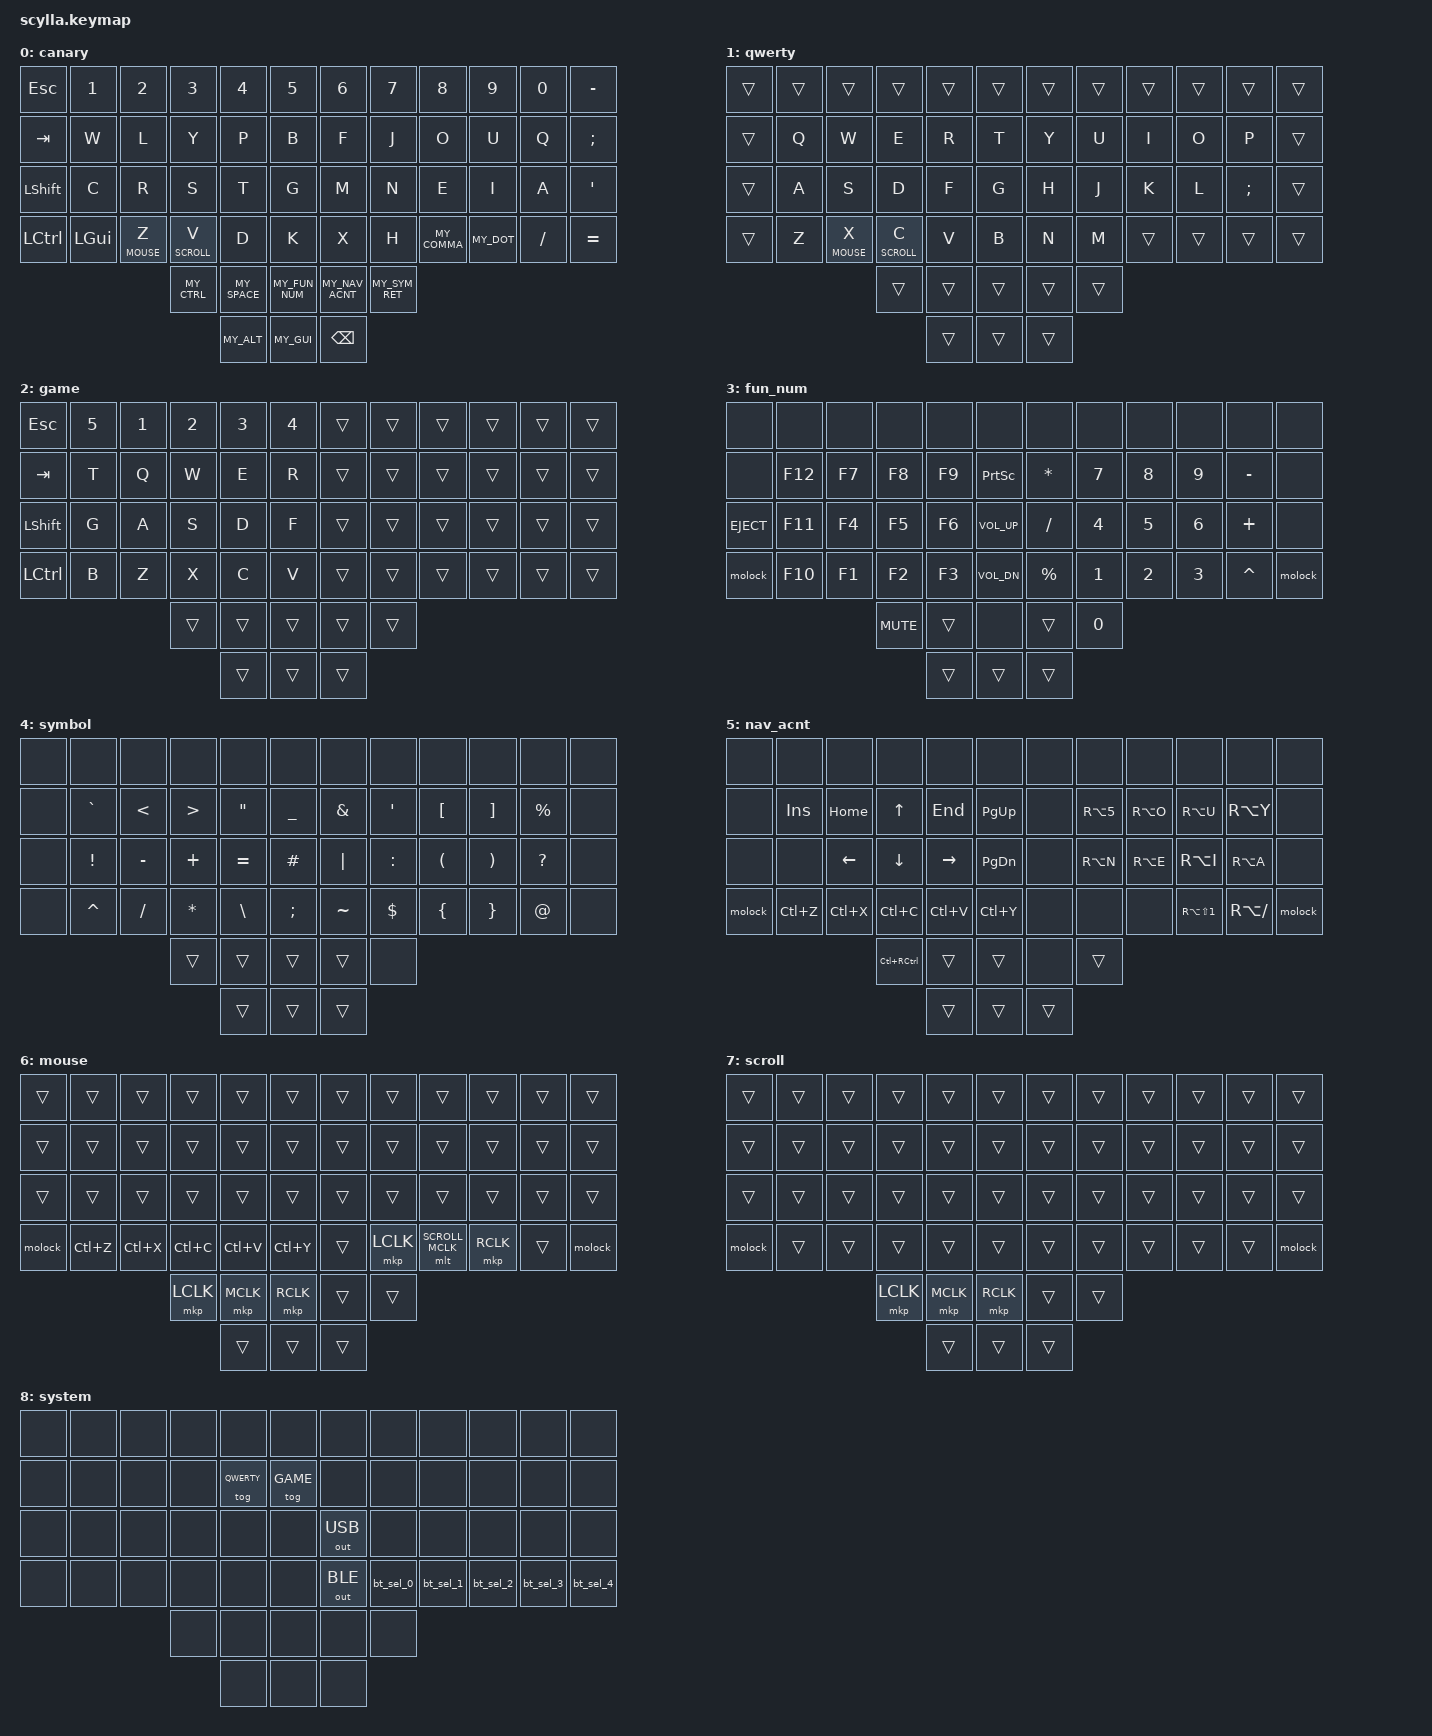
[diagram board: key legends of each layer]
#include <behaviors.dtsi>
#include <dt-bindings/zmk/keys.h>
#include <dt-bindings/zmk/bt.h>
#include <dt-bindings/zmk/mouse.h>
#include <dt-bindings/zmk/outputs.h>
#include "layers.h"
#include "keypos.h"
#include "helper.h"

// misc aliases
#define MY_FUN_NUM    mo_sk FUN_NUM LSHFT
#define MY_NAV_ACNT   mo_sl NAV_ACNT NAV_ACNT
#define MY_SYM_RET    lt_hp SYMBOL RET
#define MY_COMMA      lt SCROLL COMMA
#define MY_DOT        lt MOUSE DOT
#define MY_SPACE      trm LGUI SPACE
#define MY_CTRL       kp_sk LCTRL LCTRL
#define MY_ALT        kp_sk LALT LALT
#define MY_GUI        kp_sk LGUI LGUI

&sk {
    quick-release;
};

ZMK_BEHAVIOR(mo_sk, hold_tap,
    flavor = "hold-preferred";
    tapping-term-ms = <200>;
    bindings = <&mo>, <&sk>;
)
ZMK_BEHAVIOR(kp_sk, hold_tap,
    flavor = "hold-preferred";
    tapping-term-ms = <200>;
    bindings = <&kp>, <&sk>;
)
ZMK_BEHAVIOR(mo_sl, hold_tap,
    flavor = "hold-preferred";
    tapping-term-ms = <200>;
    bindings = <&mo>, <&sl>;
)
ZMK_BEHAVIOR(lt_hp, hold_tap,
    flavor = "hold-preferred";
    tapping-term-ms = <200>;
    bindings = <&mo>, <&kp>;
)
ZMK_BEHAVIOR(mlt, hold_tap,
    flavor = "tap-preferred";
    tapping-term-ms = <200>;
    bindings = <&mo>, <&mkp>;
)
ZMK_BEHAVIOR(trm, hold_tap,
    flavor = "balanced";
    tapping-term-ms = <280>;
    quick-tap-ms = <150>;
    require-prior-idle-ms = <150>;
    bindings = <&kp>, <&kp>;
)

ZMK_COMBO(combo_bspc,     &kp BSPC,          RH0 RU0, ALL,  75)
ZMK_COMBO(combo_capsword, &caps_word,        LF2 RF2, 0 1,  75)
ZMK_COMBO(combo_caps,     &kp CAPSLOCK,      LB5 RB5, 0 1,  75)
ZMK_COMBO(combo_bootload, &bootloader,       RF2 RT2, 0 1, 150, 150)
ZMK_COMBO(combo_reset,    &sys_reset,        RF3 RT3, 0 1, 150, 150)
ZMK_COMBO(combo_mb1,      &mkp MB1,          RF1 RF2, 0 1, 150, 150)
ZMK_COMBO(combo_mb2,      &mkp MB2,          RF2 RF3, 0 1, 150, 150)
ZMK_COMBO(combo_mb3,      &mkp MB3,      RF1 RF2 RF3, 0 1, 150, 150)

ZMK_SHIFT_MACRO(bt_sel_0, &bt BT_SEL 0, &bt BT_SEL 0 &bt BT_CLR)
ZMK_SHIFT_MACRO(bt_sel_1, &bt BT_SEL 1, &bt BT_SEL 1 &bt BT_CLR)
ZMK_SHIFT_MACRO(bt_sel_2, &bt BT_SEL 2, &bt BT_SEL 2 &bt BT_CLR)
ZMK_SHIFT_MACRO(bt_sel_3, &bt BT_SEL 3, &bt BT_SEL 3 &bt BT_CLR)
ZMK_SHIFT_MACRO(bt_sel_4, &bt BT_SEL 4, &bt BT_SEL 4 &bt BT_CLR)

/* Keymap */

ZMK_CONDITIONAL_LAYERS(tri_layers_1, FUN_NUM NAV_ACNT, SYSTEM)

ZMK_LAYER(canary,
// ╭───────────────────────────────────────────────────────────────────────────────╮ ╭───────────────────────────────────────────────────────────────────────────────╮
          &kp ESC       &kp N1       &kp N2       &kp N3       &kp N4       &kp N5           &kp N6       &kp N7       &kp N8       &kp N9       &kp N0    &kp MINUS
// ├───────────────────────────────────────────────────────────────────────────────┤ ├───────────────────────────────────────────────────────────────────────────────┤
          &kp TAB        &kp W        &kp L        &kp Y        &kp P        &kp B            &kp F        &kp J        &kp O        &kp U        &kp Q     &kp SEMI
// ├───────────────────────────────────────────────────────────────────────────────┤ ├───────────────────────────────────────────────────────────────────────────────┤
        &kp LSHFT        &kp C        &kp R        &kp S        &kp T        &kp G            &kp M        &kp N        &kp E        &kp I        &kp A     &kp APOS
// ├───────────────────────────────────────────────────────────────────────────────┤ ├───────────────────────────────────────────────────────────────────────────────┤
        &kp LCTRL     &kp LGUI  &lt MOUSE Z &lt SCROLL V        &kp D        &kp K            &kp X        &kp H    &MY_COMMA      &MY_DOT     &kp FSLH    &kp EQUAL
// ╰───────────────────────────────────────────────────────────────────────────────┤ ├───────────────────────────────────────────────────────────────────────────────╯
                                                &MY_CTRL    &MY_SPACE  &MY_FUN_NUM     &MY_NAV_ACNT  &MY_SYM_RET
                                                              &MY_ALT      &MY_GUI         &kp BSPC
//                                        ╰────────────────────────────────────────╯ ╰───────────────────────────╯
)

ZMK_LAYER(qwerty,
// ╭───────────────────────────────────────────────────────────────────────────────╮ ╭───────────────────────────────────────────────────────────────────────────────╮
           &trans       &trans       &trans       &trans       &trans       &trans           &trans       &trans       &trans       &trans       &trans       &trans
// ├───────────────────────────────────────────────────────────────────────────────┤ ├───────────────────────────────────────────────────────────────────────────────┤
           &trans        &kp Q        &kp W        &kp E        &kp R        &kp T            &kp Y        &kp U        &kp I        &kp O        &kp P       &trans
// ├───────────────────────────────────────────────────────────────────────────────┤ ├───────────────────────────────────────────────────────────────────────────────┤
           &trans        &kp A        &kp S        &kp D        &kp F        &kp G            &kp H        &kp J        &kp K        &kp L     &kp SEMI       &trans
// ├───────────────────────────────────────────────────────────────────────────────┤ ├───────────────────────────────────────────────────────────────────────────────┤
           &trans        &kp Z  &lt MOUSE X &lt SCROLL C        &kp V        &kp B            &kp N        &kp M       &trans       &trans       &trans       &trans
// ╰───────────────────────────────────────────────────────────────────────────────┤ ├───────────────────────────────────────────────────────────────────────────────╯
                                                  &trans       &trans       &trans           &trans       &trans
                                                               &trans       &trans           &trans
//                                        ╰────────────────────────────────────────╯ ╰───────────────────────────╯
)

ZMK_LAYER(game,
// ╭───────────────────────────────────────────────────────────────────────────────╮ ╭───────────────────────────────────────────────────────────────────────────────╮
          &kp ESC       &kp N5       &kp N1       &kp N2       &kp N3       &kp N4           &trans       &trans       &trans       &trans       &trans       &trans
// ├───────────────────────────────────────────────────────────────────────────────┤ ├───────────────────────────────────────────────────────────────────────────────┤
          &kp TAB        &kp T        &kp Q        &kp W        &kp E        &kp R           &trans       &trans       &trans       &trans       &trans       &trans
// ├───────────────────────────────────────────────────────────────────────────────┤ ├───────────────────────────────────────────────────────────────────────────────┤
        &kp LSHFT        &kp G        &kp A        &kp S        &kp D        &kp F           &trans       &trans       &trans       &trans       &trans       &trans
// ├───────────────────────────────────────────────────────────────────────────────┤ ├───────────────────────────────────────────────────────────────────────────────┤
        &kp LCTRL        &kp B        &kp Z        &kp X        &kp C        &kp V           &trans       &trans       &trans       &trans       &trans       &trans
// ╰───────────────────────────────────────────────────────────────────────────────┤ ├───────────────────────────────────────────────────────────────────────────────╯
                                                  &trans       &trans       &trans           &trans       &trans
                                                               &trans       &trans           &trans
//                                        ╰────────────────────────────────────────╯ ╰───────────────────────────╯
)

ZMK_LAYER(fun_num,
// ╭───────────────────────────────────────────────────────────────────────────────╮ ╭───────────────────────────────────────────────────────────────────────────────╮
            &none        &none        &none        &none        &none        &none            &none        &none        &none        &none        &none        &none
// ├───────────────────────────────────────────────────────────────────────────────┤ ├───────────────────────────────────────────────────────────────────────────────┤
            &none      &kp F12       &kp F7       &kp F8       &kp F9    &kp PSCRN        &kp ASTRK       &kp N7       &kp N8       &kp N9    &kp MINUS        &none
// ├───────────────────────────────────────────────────────────────────────────────┤ ├───────────────────────────────────────────────────────────────────────────────┤
      &kp C_EJECT      &kp F11       &kp F4       &kp F5       &kp F6 &kp C_VOL_UP         &kp FSLH       &kp N4       &kp N5       &kp N6     &kp PLUS        &none
// ├───────────────────────────────────────────────────────────────────────────────┤ ├───────────────────────────────────────────────────────────────────────────────┤
          &molock      &kp F10       &kp F1       &kp F2       &kp F3 &kp C_VOL_DN        &kp PRCNT       &kp N1       &kp N2       &kp N3    &kp CARET      &molock
// ╰───────────────────────────────────────────────────────────────────────────────┤ ├───────────────────────────────────────────────────────────────────────────────╯
                                              &kp C_MUTE       &trans        &none           &trans       &kp N0
                                                               &trans       &trans           &trans
//                                        ╰────────────────────────────────────────╯ ╰───────────────────────────╯
)

ZMK_LAYER(symbol,
// ╭───────────────────────────────────────────────────────────────────────────────╮ ╭───────────────────────────────────────────────────────────────────────────────╮
            &none        &none        &none        &none        &none        &none            &none        &none        &none        &none        &none        &none
// ├───────────────────────────────────────────────────────────────────────────────┤ ├───────────────────────────────────────────────────────────────────────────────┤
            &none    &kp GRAVE       &kp LT       &kp GT      &kp DQT    &kp UNDER         &kp AMPS     &kp APOS     &kp LBKT     &kp RBKT    &kp PRCNT        &none
// ├───────────────────────────────────────────────────────────────────────────────┤ ├───────────────────────────────────────────────────────────────────────────────┤
            &none     &kp EXCL    &kp MINUS     &kp PLUS    &kp EQUAL     &kp HASH         &kp PIPE    &kp COLON     &kp LPAR     &kp RPAR    &kp QMARK        &none
// ├───────────────────────────────────────────────────────────────────────────────┤ ├───────────────────────────────────────────────────────────────────────────────┤
            &none    &kp CARET     &kp FSLH    &kp ASTRK     &kp BSLH     &kp SEMI        &kp TILDE   &kp DOLLAR     &kp LBRC     &kp RBRC       &kp AT        &none
// ╰───────────────────────────────────────────────────────────────────────────────┤ ├───────────────────────────────────────────────────────────────────────────────╯
                                                  &trans       &trans       &trans           &trans        &none
                                                               &trans       &trans           &trans
//                                        ╰────────────────────────────────────────╯ ╰───────────────────────────╯
)

ZMK_LAYER(nav_acnt,
// ╭───────────────────────────────────────────────────────────────────────────────╮ ╭───────────────────────────────────────────────────────────────────────────────╮
            &none        &none        &none        &none        &none        &none            &none        &none        &none        &none        &none        &none
// ├───────────────────────────────────────────────────────────────────────────────┤ ├───────────────────────────────────────────────────────────────────────────────┤
            &none      &kp INS     &kp HOME       &kp UP      &kp END    &kp PG_UP            &none   &kp RA(N5)    &kp RA(O)    &kp RA(U)    &kp RA(Y)        &none
// ├───────────────────────────────────────────────────────────────────────────────┤ ├───────────────────────────────────────────────────────────────────────────────┤
            &none        &none     &kp LEFT     &kp DOWN    &kp RIGHT    &kp PG_DN            &none    &kp RA(N)    &kp RA(E)    &kp RA(I)    &kp RA(A)        &none
// ├───────────────────────────────────────────────────────────────────────────────┤ ├───────────────────────────────────────────────────────────────────────────────┤
          &molock    &kp LC(Z)    &kp LC(X)    &kp LC(C)    &kp LC(V)    &kp LC(Y)            &none        &none      &none &kp RA(LS(N1)) &kp RA(FSLH)      &molock
// ╰───────────────────────────────────────────────────────────────────────────────┤ ├───────────────────────────────────────────────────────────────────────────────╯
                                           &kp LC(RCTRL)       &trans       &trans            &none       &trans
                                                               &trans       &trans           &trans
//                                        ╰────────────────────────────────────────╯ ╰───────────────────────────╯
)

ZMK_LAYER(mouse,
// ╭───────────────────────────────────────────────────────────────────────────────╮ ╭───────────────────────────────────────────────────────────────────────────────╮
           &trans       &trans       &trans       &trans       &trans       &trans           &trans       &trans       &trans       &trans       &trans       &trans
// ├───────────────────────────────────────────────────────────────────────────────┤ ├───────────────────────────────────────────────────────────────────────────────┤
           &trans       &trans       &trans       &trans       &trans       &trans           &trans       &trans       &trans       &trans       &trans       &trans
// ├───────────────────────────────────────────────────────────────────────────────┤ ├───────────────────────────────────────────────────────────────────────────────┤
           &trans       &trans       &trans       &trans       &trans       &trans           &trans       &trans       &trans       &trans       &trans       &trans
// ├───────────────────────────────────────────────────────────────────────────────┤ ├───────────────────────────────────────────────────────────────────────────────┤
          &molock    &kp LC(Z)    &kp LC(X)    &kp LC(C)    &kp LC(V)    &kp LC(Y)           &trans   &mkp LCLK &mlt SCROLL MCLK &mkp RCLK       &trans      &molock
// ╰───────────────────────────────────────────────────────────────────────────────┤ ├───────────────────────────────────────────────────────────────────────────────╯
                                               &mkp LCLK    &mkp MCLK    &mkp RCLK           &trans       &trans
                                                               &trans       &trans           &trans
//                                        ╰────────────────────────────────────────╯ ╰───────────────────────────╯
)

ZMK_LAYER(scroll,
// ╭───────────────────────────────────────────────────────────────────────────────╮ ╭───────────────────────────────────────────────────────────────────────────────╮
           &trans       &trans       &trans       &trans       &trans       &trans           &trans       &trans       &trans       &trans       &trans       &trans
// ├───────────────────────────────────────────────────────────────────────────────┤ ├───────────────────────────────────────────────────────────────────────────────┤
           &trans       &trans       &trans       &trans       &trans       &trans           &trans       &trans       &trans       &trans       &trans       &trans
// ├───────────────────────────────────────────────────────────────────────────────┤ ├───────────────────────────────────────────────────────────────────────────────┤
           &trans       &trans       &trans       &trans       &trans       &trans           &trans       &trans       &trans       &trans       &trans       &trans
// ├───────────────────────────────────────────────────────────────────────────────┤ ├───────────────────────────────────────────────────────────────────────────────┤
          &molock       &trans       &trans       &trans       &trans       &trans           &trans       &trans       &trans       &trans       &trans      &molock
// ╰───────────────────────────────────────────────────────────────────────────────┤ ├───────────────────────────────────────────────────────────────────────────────╯
                                               &mkp LCLK    &mkp MCLK    &mkp RCLK           &trans       &trans
                                                               &trans       &trans           &trans
//                                        ╰────────────────────────────────────────╯ ╰───────────────────────────╯
)

ZMK_LAYER(system,
// ╭───────────────────────────────────────────────────────────────────────────────╮ ╭───────────────────────────────────────────────────────────────────────────────╮
            &none        &none        &none        &none        &none        &none            &none        &none        &none        &none        &none        &none
// ├───────────────────────────────────────────────────────────────────────────────┤ ├───────────────────────────────────────────────────────────────────────────────┤
            &none        &none        &none        &none  &tog QWERTY    &tog GAME            &none        &none        &none        &none        &none        &none
// ├───────────────────────────────────────────────────────────────────────────────┤ ├───────────────────────────────────────────────────────────────────────────────┤
            &none        &none        &none        &none        &none        &none     &out OUT_USB        &none        &none        &none        &none        &none
// ├───────────────────────────────────────────────────────────────────────────────┤ ├───────────────────────────────────────────────────────────────────────────────┤
            &none        &none        &none        &none        &none        &none     &out OUT_BLE    &bt_sel_0    &bt_sel_1    &bt_sel_2    &bt_sel_3    &bt_sel_4
// ╰───────────────────────────────────────────────────────────────────────────────┤ ├───────────────────────────────────────────────────────────────────────────────╯
                                                   &none        &none        &none            &none        &none
                                                                &none        &none            &none
//                                        ╰────────────────────────────────────────╯ ╰───────────────────────────╯
)
